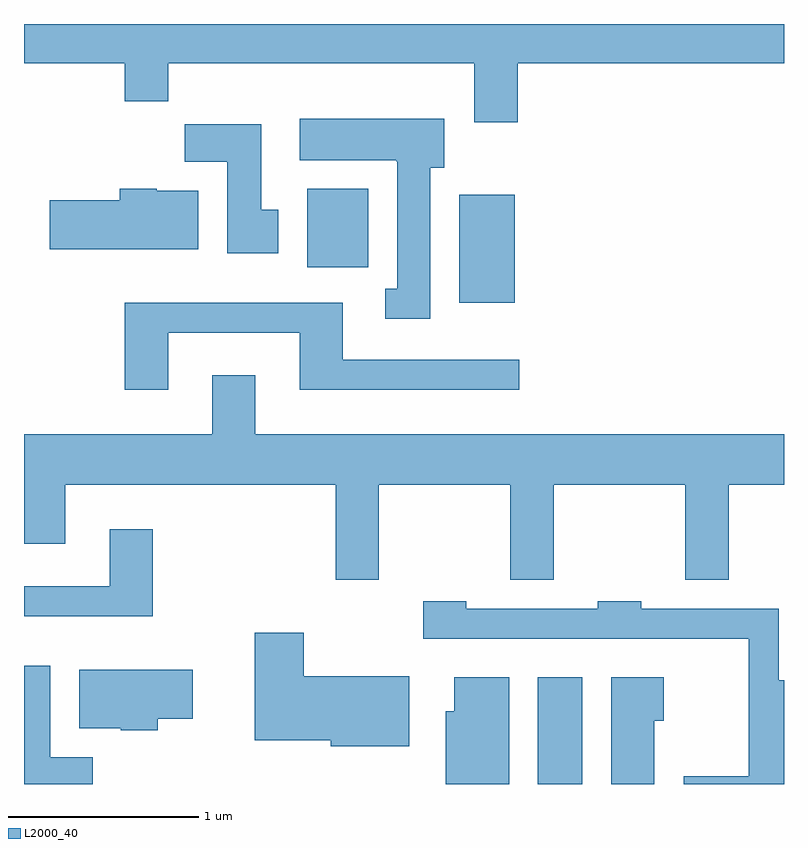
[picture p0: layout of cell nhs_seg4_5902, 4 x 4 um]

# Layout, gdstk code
import gdstk
lib = gdstk.Library(unit=1e-6, precision=1e-09)
def R(c, l, rs):  # rectangles x0, y0, x1, y1
    for r in rs: c.add(gdstk.rectangle(r[:2], r[2:], *l))
def P(c, l, *ps):  # polygons
    for p in ps: c.add(gdstk.Polygon(p, *l))
L2000_40 = (2000, 40)

nhs_seg4_5902 = lib.new_cell('nhs_seg4_5902')
R(nhs_seg4_5902, L2000_40, [(360.316,1361.982,360.549,1362.544), (359.901,1364.516,360.194,1365.084), (359.101,1364.701,359.424,1365.114)])
P(nhs_seg4_5902, L2000_40, [(360.209,1365.776),(361.611,1365.776),(361.611,1365.982),(357.611,1365.982),(357.611,1365.776),(358.141,1365.776),(358.141,1365.576),(358.369,1365.576),(358.369,1365.776),(359.981,1365.776),(359.981,1365.466),(360.209,1365.466)],
  [(359.749,1365.226),(359.824,1365.226),(359.824,1365.484),(359.061,1365.484),(359.061,1365.266),(359.57,1365.266),(359.57,1365.26),(359.576,1365.26),(359.576,1364.589),(359.513,1364.589),(359.513,1364.431),(359.749,1364.431)],
  [(358.949,1365.004),(358.859,1365.004),(358.859,1365.454),(358.456,1365.454),(358.456,1365.256),(358.681,1365.256),(358.681,1364.776),(358.949,1364.776)],
  [(358.529,1365.104),(358.31,1365.104),(358.31,1365.114),(358.116,1365.114),(358.116,1365.054),(357.746,1365.054),(357.746,1364.796),(358.529,1364.796)],
  [(358.369,1364.356),(359.061,1364.356),(359.061,1364.056),(360.218,1364.056),(360.218,1364.214),(359.289,1364.214),(359.289,1364.514),(358.141,1364.514),(358.141,1364.056),(358.369,1364.056)],
  [(359.479,1363.556),(360.171,1363.556),(360.171,1363.056),(360.399,1363.056),(360.399,1363.556),(361.091,1363.556),(361.091,1363.056),(361.319,1363.056),(361.319,1363.556),(361.611,1363.556),(361.611,1363.824),(358.829,1363.824),(358.829,1364.134),(358.601,1364.134),(358.601,1363.824),(357.611,1363.824),(357.611,1363.246),(357.829,1363.246),(357.829,1363.556),(359.251,1363.556),(359.251,1363.056),(359.479,1363.056)],
  [(358.289,1363.324),(358.061,1363.324),(358.061,1363.024),(357.611,1363.024),(357.611,1362.866),(358.289,1362.866)],
  [(361.611,1362.529),(361.584,1362.529),(361.584,1362.904),(360.859,1362.904),(360.859,1362.944),(360.631,1362.944),(360.631,1362.904),(359.939,1362.904),(359.939,1362.944),(359.711,1362.944),(359.711,1362.746),(361.426,1362.746),(361.426,1362.024),(361.083,1362.024),(361.083,1361.982),(361.611,1361.982)],
  [(359.639,1362.549),(359.084,1362.549),(359.084,1362.779),(358.826,1362.779),(358.826,1362.211),(359.226,1362.211),(359.226,1362.181),(359.639,1362.181)],
  [(357.974,1362.124),(357.749,1362.124),(357.749,1362.604),(357.611,1362.604),(357.611,1361.982),(357.974,1361.982)],
  [(358.314,1362.326),(358.499,1362.326),(358.499,1362.584),(357.901,1362.584),(357.901,1362.276),(358.12,1362.276),(358.12,1362.266),(358.314,1362.266)],
  [(360.164,1362.544),(359.876,1362.544),(359.876,1362.364),(359.831,1362.364),(359.831,1361.982),(360.164,1361.982)],
  [(360.929,1362.316),(360.979,1362.316),(360.979,1362.544),(360.701,1362.544),(360.701,1361.982),(360.929,1361.982)])

lib.write_gds('nhs_seg4_5902.gds')
